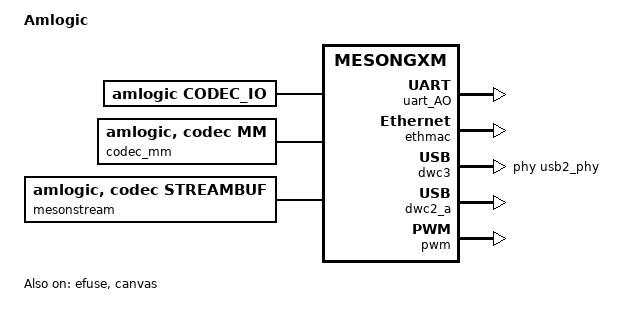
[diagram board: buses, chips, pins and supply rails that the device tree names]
/*
 * arch/arm64/boot/dts/amlogic/gxm_q200_2g.dts
 *
 * Copyright (C) 2017 Amlogic, Inc. All rights reserved.
 *
 * This program is free software; you can redistribute it and/or modify
 * it under the terms of the GNU General Public License as published by
 * the Free Software Foundation; either version 2 of the License, or
 * (at your option) any later version.
 *
 * This program is distributed in the hope that it will be useful, but WITHOUT
 * ANY WARRANTY; without even the implied warranty of MERCHANTABILITY or
 * FITNESS FOR A PARTICULAR PURPOSE.  See the GNU General Public License for
 * more details.
 *
 */

/dts-v1/;

#include "mesongxm.dtsi"
/ {
	model = "Amlogic";
	amlogic-dt-id = "gxm_q200_2g";
	compatible = "amlogic, Gxm";
	interrupt-parent = <&gic>;
	#address-cells = <2>;
	#size-cells = <2>;

	aliases {
		serial0 = &uart_AO;
	};

	ion_dev {
		compatible = "amlogic, ion_dev";
		memory-region = <&ion_reserved>;
	};

	memory@00000000 {
		device_type = "memory";
		linux,usable-memory = <0x0 0x0100000 0x0 0x7ff00000>;
	};

	reserved-memory {
		#address-cells = <2>;
		#size-cells = <2>;
		ranges;
		/* global autoconfigured region for contiguous allocations */
		secmon_reserved:linux,secmon {
			compatible = "amlogic, aml_secmon_memory";
			reg = <0x0 0x10000000 0x0 0x200000>;
			no-map;
		};
		secos_reserved:linux,secos {
			status = "disable";
			compatible = "amlogic, aml_secos_memory";
			reg = <0x0 0x05300000 0x0 0x2000000>;
			no-map;
		};
		pstore:aml_pstore {
			compatible = "amlogic, pstore";
			reg = <0x0 0x07300000 0x0 0x100000>;
			no-map;
		};
		fb_reserved:linux,meson-fb {
			compatible = "amlogic, fb-memory";
			size = <0x0 0x2000000>;
			no-map;
		};

		di_reserved:linux,di {
			compatible = "amlogic, di-mem";
			size = <0x0 0x1e00000>; //10x1920x1088x3/2=30M
			//no-map;
		};

		ion_reserved:linux,ion-dev {
			compatible = "amlogic, idev-mem";
			size = <0x0 0x4000000>;
		};

		/*  POST PROCESS MANAGER */
		ppmgr_reserved:linux,ppmgr {
			compatible = "amlogic, ppmgr_memory";
			size = <0x0 0x2000000>;
		};

		codec_mm_cma:linux,codec_mm_cma {
			compatible = "shared-dma-pool";
			reusable;
			size = <0x0 0xd000000>;
			alignment = <0x0 0x400000>;
			linux,contiguous-region;
		};
		picdec_cma_reserved:linux,picdec {
			compatible = "shared-dma-pool";
			reusable;
			size = <0x0 0x0>;
			alignment = <0x0 0x0>;
			linux,contiguous-region;
		};
		/* codec shared reserved */
		codec_mm_reserved:linux,codec_mm_reserved {
			compatible = "amlogic, codec-mm-reserved";
			size = <0x0 0x4100000>;
			alignment = <0x0 0x100000>;
			//no-map;
		};
	};

	uart_AO: serial@c81004c0 {
		compatible = "amlogic, meson-uart";
		reg = <0x0 0xc81004c0 0x0 0x18>;
		interrupts = <0 193 1>;
		status = "okay";
		xtal_tick_en = <1>;
		fifosize = < 64 >;
		pinctrl-names = "default";
		pinctrl-0 = <&ao_uart_pins>;
		support-sysrq = <0>;	/* 0 not support , 1 support */
	};

	ethmac: ethernet@0xc9410000 {
			compatible = "amlogic, gxbb-eth-dwmac";
			reg = <0x0 0xc9410000 0x0 0x10000
			0x0 0xc8834540 0x0 0x8
			0x0 0xc8834558 0x0 0xc>;
			interrupts = <0 8 1>;
			pinctrl-names = "external_eth_pins";
			pinctrl-0 = <&external_eth_pins>;
			rst_pin-gpios = <&gpio GPIOZ_14 0>;
			GPIOZ4_pin-gpios = <&gpio GPIOZ_4 0>;
			GPIOZ5_pin-gpios = <&gpio GPIOZ_5 0>;
			mc_val_internal_phy = <0x1800>;
			mc_val_external_phy = <0x1621>;
			cali_val = <0x20000>;
			interrupt-names = "macirq";
			clocks = <&clkc CLKID_ETH>;
			clock-names = "ethclk81";
			internal_phy=<1>;
	};

	codec_io {
		compatible = "amlogic, codec_io";
		#address-cells=<2>;
		#size-cells=<2>;
		ranges;
		io_cbus_base{
			reg = <0x0 0xC1100000 0x0 0x100000>;
		};
		io_dos_base{
			reg = <0x0 0xc8820000 0x0 0x10000>;
		};
		io_hiubus_base{
			reg = <0x0 0xc883c000 0x0 0x2000>;
		};
		io_aobus_base{
			reg = <0x0 0xc8100000 0x0 0x100000>;
		};
		io_vcbus_base{
			reg = <0x0 0xd0100000 0x0 0x40000>;
		};
		io_dmc_base{
			reg = <0x0 0xc8838000 0x0 0x400>;
		};
	};

	codec_mm {
		compatible = "amlogic, codec, mm";
		memory-region = <&codec_mm_cma &codec_mm_reserved>;
		dev_name = "codec_mm";
		status = "okay";
	};

	canvas{
		compatible = "amlogic, meson, canvas";
		dev_name = "amlogic-canvas";
		status = "ok";
		reg = <0x0 0xc8838000 0x0 0x400>;
	};

	mesonstream {
		compatible = "amlogic, codec, streambuf";
		dev_name = "mesonstream";
		status = "okay";
		clocks = <&clkc CLKID_DOS_PARSER
			&clkc CLKID_VPU_INTR
			&clkc CLKID_DEMUX
			&clkc CLKID_DOS
			&clkc CLKID_VDEC_MUX
			&clkc CLKID_HCODEC_MUX
			&clkc CLKID_HEVC_MUX>;
		clock-names = "parser_top",
			"vpu_intr",
			"demux",
			"vdec",
			"clk_vdec_mux",
			"clk_hcodec_mux",
			"clk_hevc_mux";
	};

	vdec {
		compatible = "amlogic, vdec";
		dev_name = "vdec.0";
		status = "okay";
		interrupts = <0 3 1
			0 23 1
			0 32 1
			0 43 1
			0 44 1
			0 45 1>;
		interrupt-names = "vsync",
			"demux",
			"parser",
			"mailbox_0",
			"mailbox_1",
			"mailbox_2";
	};

	dwc3: dwc3@c9000000 {
		compatible = "synopsys, dwc3";
		reg = <0x0 0xc9000000 0x0 0x100000>;
		interrupts = <0 30 4>;
		usb-phy = <&usb2_phy>, <&usb3_phy>;
		cpu-type = "gxl";
		clock-src = "usb3.0";
	};

	usb2_phy: usb2phy@d0078000 {
		compatible = "amlogic, amlogic-new-usb2";
		portnum = <3>;
		reg = <0x0 0xd0078000 0x0 0x80>;
	};

	usb3_phy: usb3phy@d0078080 {
		compatible = "amlogic, amlogic-new-usb3";
		portnum = <0>;
		reg = <0x0 0xd0078080 0x0 0x20>;
	};

	dwc2_a {
		compatible = "amlogic, dwc2";
		device_name = "dwc2_a";
		reg = <0x0 0xc9100000 0x0 0x40000>;
		status = "okay";
		interrupts = <0 31 4>;
		pl-periph-id = <0>; /** lm name */
		clock-src = "usb0"; /** clock src */
		port-id = <0>;  /** ref to mach/usb.h */
		port-type = <2>;        /** 0: otg, 1: host, 2: slave */
		port-speed = <0>; /** 0: default, high, 1: full */
		port-config = <0>; /** 0: default */
		port-dma = <0>; /** 0: default ... 6: disable*/
		port-id-mode = <0>; /** 0: hardware, 1: sw_host, 2: sw_slave*/
		usb-fifo = <728>;
		cpu-type = "gxl";
		controller-type = <2>; /** 0: normal, 1:host, 2:device*/
		phy-reg = <0xd0078000>;
		phy-reg-size = <0xa0>;
		clocks = <&clkc CLKID_USB_GENERAL
			&clkc CLKID_USB1_TO_DDR
			&clkc CLKID_USB1>;
		clock-names = "usb_general",
			"usb1",
			"usb1_to_ddr";
	};

	vout {
		compatible = "amlogic, vout";
		dev_name = "vout";
		status = "okay";
		fr_auto_policy = <0>;
	};

	cvbsout {
		compatible = "amlogic, cvbsout";
		dev_name = "cvbsout";
		status = "okay";
	};

	amhdmitx: amhdmitx{
		compatible = "amlogic, amhdmitx";
		dev_name = "amhdmitx";
		status = "okay";
		vend-data = <&vend_data>;
		pinctrl-names="hdmitx_hpd", "hdmitx_ddc";
		pinctrl-0=<&hdmitx_hpd>;
		pinctrl-1=<&hdmitx_ddc>;
		/* HPD, 57 + 32 = 89; CEC, 151 + 32 = 183*/
		interrupts = <0 57 1>;
		interrupt-names = "hdmitx_hpd";
		vend_data: vend_data{ /* Should modified by Customer */
			vendor_name = "Amlogic"; /* Max Chars: 8 */
			/* standards.ieee.org/develop/regauth/oui/oui.txt */
			vendor_id = <0x000000>;
			product_desc = "MBox Meson Ref"; /* Max Chars: 16 */
		};
	};

	pwm {
		compatible = "amlogic, meson-pwm";
		status = "okay";
		pwm-outputs = <PWM_A>,<PWM_B>,<PWM_C>,<PWM_D>,
					<PWM_E>,<PWM_F>,<PWM_AO_A>,<PWM_AO_B>;
		pwm-outputs-new = <PWM_A>,<PWM_B>,<PWM_C>,<PWM_D>,
				<PWM_E>,<PWM_F>,<PWM_AO_A>,<PWM_AO_B>,
				<PWM_A2>,<PWM_B2>,<PWM_C2>,<PWM_D2>,
				<PWM_E2>,<PWM_F2>,<PWM_AO_A2>,<PWM_AO_B2>;
		reg = <0x0 0xc1108550 0x0 0x30>,
		      <0x0 0xc8100550  0x0 0x10>;
		clocks = <&xtal>,
			 <&clkc CLKID_VID_PLL>,
			 /*the clock source is not supported now*/
			 <&clkc CLKID_FCLK_DIV4>,
			 <&clkc CLKID_FCLK_DIV3>;
		clock-names = "xtal",
			      "vid_pll_clk",
			      "fclk_div4",
			      "fclk_div3";
		clock-select = <XTAL_CLK>,<XTAL_CLK>,<XTAL_CLK>,<XTAL_CLK>,
				<XTAL_CLK>,<XTAL_CLK>,<XTAL_CLK>,<XTAL_CLK>;
		clock-select-new = <XTAL_CLK>,<XTAL_CLK>,<XTAL_CLK>,<XTAL_CLK>,
				<XTAL_CLK>,<XTAL_CLK>,<XTAL_CLK>,<XTAL_CLK>,
				<XTAL_CLK>,<XTAL_CLK>,<XTAL_CLK>,<XTAL_CLK>,
				<XTAL_CLK>,<XTAL_CLK>,<XTAL_CLK>,<XTAL_CLK>;
		/*all channels use the default clock source XTAL_CLK*/
		/*and you can shoose it in file dt-bindings/pwm/meson.h*/
	};
	meson-fb {
		compatible = "amlogic, meson-fb";
		memory-region = <&fb_reserved>;
		dev_name = "meson-fb";
		status = "okay";
		interrupts = <0 3 1
			0 89 1>;
		interrupt-names = "viu-vsync", "rdma";
		mem_size = <0x01851000 0x00100000>; /* fb0/fb1 memory size */
		display_mode_default = "1080p60hz";
		scale_mode = <1>;
		/** 0:VPU free scale 1:OSD free scale 2:OSD super scale */
		display_size_default = <1920 1080 1920 3240 32>;
		/*1920*1080*4*3 = 0x17BB000*/
		logo_addr = "0x3d851000";
		/*ion base + fb0 memory size for uboot logo osd1*/
	};
	ge2d {
		compatible = "amlogic, ge2d";
		dev_name = "ge2d";
		status = "okay";
		interrupts = <0 150 1>;
		interrupt-names = "ge2d";
		clocks = <&clkc CLKID_VAPB_MUX>,
			<&clkc CLKID_GE2D_GATE>,
			<&clkc CLKID_G2D>;
		clock-names = "clk_vapb_0",
			"clk_ge2d",
			"clk_ge2d_gate";
	};

	rdma{
		compatible = "amlogic, meson, rdma";
		dev_name = "amlogic-rdma";
		status = "ok";
		interrupts = <0 89 1>;
		interrupt-names = "rdma";
	};
};
&efuse {
	status = "ok";
};
